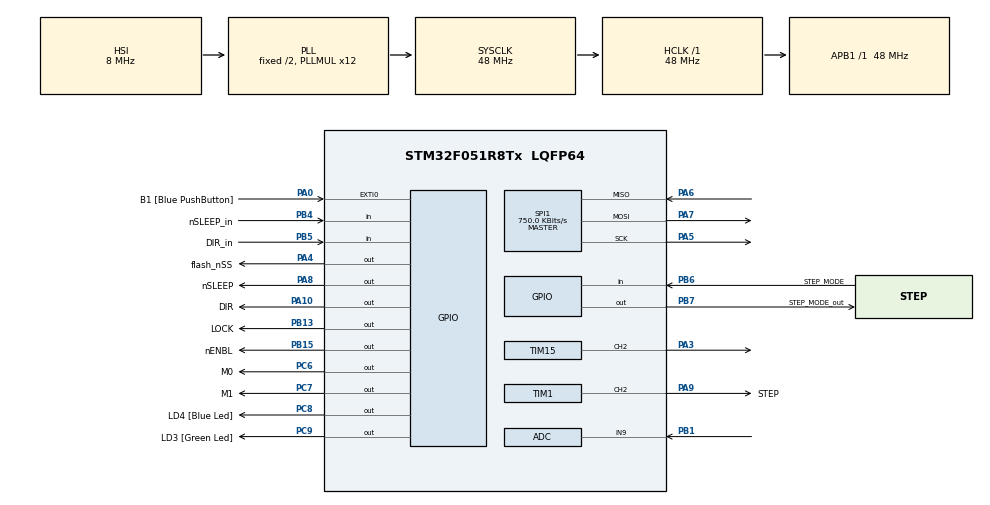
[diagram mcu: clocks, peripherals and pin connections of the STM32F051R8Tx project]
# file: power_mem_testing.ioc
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ADC.EnableAnalogWatchDog=true
ADC.HighThreshold=255
ADC.ITMode=ENABLE
ADC.LowThreshold=202
ADC.Resolution=ADC_RESOLUTION_8B
ADC.WatchdogChannel=ADC_CHANNEL_9
Mcu.Family=STM32F0
Mcu.Name=STM32F051R8Tx
Mcu.Package=LQFP64
NVIC.ADC1_COMP_IRQn=true\:0\:0\:false\:false\:true\:true\:true
NVIC.EXTI0_1_IRQn=true\:0\:0\:false\:false\:true\:true\:true
NVIC.TIM1_CC_IRQn=true\:0\:0\:false\:false\:true\:true\:true
NVIC.TIM2_IRQn=true\:0\:0\:false\:false\:true\:true\:true
PA0.GPIO_Label=B1 [Blue PushButton]
PA0.GPIO_ModeDefaultEXTI=GPIO_MODE_IT_RISING
PA0.Signal=GPXTI0
PA10.GPIO_Label=DIR
PA10.Signal=GPIO_Output
PA13.GPIO_Label=SWDIO
PA13.Mode=Serial_Wire
PA13.Signal=SYS_SWDIO
PA14.GPIO_Label=SWCLK
PA14.Mode=Serial_Wire
PA14.Signal=SYS_SWCLK
PA3.Signal=S_TIM15_CH2
PA4.GPIO_Label=flash_nSS
PA4.GPIO_Speed=GPIO_SPEED_FREQ_HIGH
PA4.PinState=GPIO_PIN_SET
PA4.Signal=GPIO_Output
PA5.Mode=Full_Duplex_Master
PA5.Signal=SPI1_SCK
PA6.Mode=Full_Duplex_Master
PA6.Signal=SPI1_MISO
PA7.Mode=Full_Duplex_Master
PA7.Signal=SPI1_MOSI
PA8.GPIO_Label=nSLEEP
PA8.PinState=GPIO_PIN_SET
PA8.Signal=GPIO_Output
PA9.GPIO_Label=STEP
PA9.Signal=S_TIM1_CH2
PB1.Mode=IN9
PB1.Signal=ADC_IN9
PB13.GPIO_Label=LOCK
PB13.Signal=GPIO_Output
PB15.GPIO_Label=nENBL
PB15.PinState=GPIO_PIN_SET
PB15.Signal=GPIO_Output
PB4.GPIO_Label=nSLEEP_in
PB4.Signal=GPIO_Input
PB5.GPIO_Label=DIR_in
PB5.Signal=GPIO_Input
PB6.GPIO_Label=STEP_MODE
PB6.Signal=GPIO_Input
PB7.GPIO_Label=STEP_MODE_out
PB7.Signal=GPIO_Output
PC6.GPIO_Label=M0
PC6.Signal=GPIO_Output
PC7.GPIO_Label=M1
PC7.Signal=GPIO_Output
PC8.GPIO_Label=LD4 [Blue Led]
PC8.Signal=GPIO_Output
PC9.GPIO_Label=LD3 [Green Led]
PC9.Signal=GPIO_Output
ProjectManager.HeapSize=0x200
ProjectManager.StackSize=0x400
ProjectManager.TargetToolchain=STM32CubeIDE
RCC.AHBFreq_Value=48000000
RCC.APB1Freq_Value=48000000
RCC.APB1TimFreq_Value=48000000
RCC.HCLKFreq_Value=48000000
RCC.PLLMUL=RCC_PLL_MUL12
RCC.SYSCLKFreq_VALUE=48000000
RCC.SYSCLKSource=RCC_SYSCLKSOURCE_PLLCLK
SH.S_TIM15_CH2.0=TIM15_CH2,Output Compare2 CH2
SH.S_TIM1_CH2.0=TIM1_CH2,Output Compare2 CH2
SPI1.BaudRatePrescaler=SPI_BAUDRATEPRESCALER_64
SPI1.CalculateBaudRate=750.0 KBits/s
SPI1.DataSize=SPI_DATASIZE_8BIT
SPI1.Direction=SPI_DIRECTION_2LINES
SPI1.Mode=SPI_MODE_MASTER
SPI1.NSSPMode=SPI_NSS_PULSE_DISABLE
SPI1.VirtualType=VM_MASTER
TIM1.Channel-Output\ Compare2\ CH2=TIM_CHANNEL_2
TIM1.OCMode_2=TIM_OCMODE_TOGGLE
TIM1.Period=1000
TIM1.Prescaler=599
TIM1.Pulse-Output\ Compare2\ CH2=1000
TIM15.Channel-Output\ Compare2\ CH2=TIM_CHANNEL_2
TIM15.OCMode_2=TIM_OCMODE_TOGGLE
TIM15.Period=1000
TIM15.Prescaler=47
TIM15.Pulse-Output\ Compare2\ CH2=1
TIM2.Channel-Output\ Compare1\ No\ Output=TIM_CHANNEL_1
TIM2.CounterMode=TIM_COUNTERMODE_DOWN
TIM2.Period=1000
TIM2.Prescaler=47999
VP_RTC_VS_RTC_Activate.Mode=RTC_Enabled
VP_RTC_VS_RTC_Calendar.Mode=RTC_Calendar
VP_TIM15_VS_ClockSourceINT.Mode=Internal
VP_TIM1_VS_ClockSourceINT.Mode=Internal
VP_TIM2_VS_ClockSourceINT.Mode=Internal
VP_TIM2_VS_no_output1.Mode=Output Compare1 No Output
board=STM32F0DISCOVERY

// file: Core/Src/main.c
/* USER CODE BEGIN Header */
/**
  ******************************************************************************
  * @file           : main.c
  * @brief          : Main program body
  ******************************************************************************
  * @attention
  *
  * <h2><center>&copy; Copyright (c) 2020 STMicroelectronics.
  * All rights reserved.</center></h2>
  *
  * This software component is licensed by ST under BSD 3-Clause license,
  * the "License"; You may not use this file except in compliance with the
  * License. You may obtain a copy of the License at:
  *                        opensource.org/licenses/BSD-3-Clause
  *
  ******************************************************************************
  */
/* USER CODE END Header */

#include "main.h"

/* USER CODE BEGIN Includes */
#include "motor.h"
#include "flash.h"
/* USER CODE END Includes */

ADC_HandleTypeDef hadc;

RTC_HandleTypeDef hrtc;

SPI_HandleTypeDef hspi1;

TIM_HandleTypeDef htim1;
TIM_HandleTypeDef htim2;
TIM_HandleTypeDef htim15;

/* USER CODE BEGIN PV */
uint8_t tim_state = 0;
uint16_t motor_count = 0;
extern uint16_t set_motor_steps;

uint8_t dosageTimer = 10;

uint8_t dataTx[6] = {0x03, 0x00, 0x00, 0x00, 0x00, 0x00};
uint8_t dataRx[6];
uint8_t dataTx2[4] = {0x55, 0x55, 0x55, 0x55};
uint8_t dataRx2[4];
uint8_t dataTx3[16] = {1, 2, 3, 4, 5, 6, 7, 8, 9, 10, 11, 12, 13, 14, 15, 16};
uint8_t dataRx3[16];

uint8_t speakerOn = 0;
uint8_t speakerTimer = 0;

/* USER CODE END PV */

void SystemClock_Config(void);
static void MX_GPIO_Init(void);
static void MX_TIM1_Init(void);
static void MX_SPI1_Init(void);
static void MX_ADC_Init(void);
static void MX_RTC_Init(void);
static void MX_TIM2_Init(void);
static void MX_TIM15_Init(void);

/* USER CODE BEGIN 0 */

void HAL_TIM_OC_DelayElapsedCallback(TIM_HandleTypeDef *htim)
{
	// timer for motor stepping
	if (htim == &htim1)
	{
		// act only on rising edge of step
		if (tim_state == 0)
		{
			motor_count++;
			tim_state = 1;
			//HAL_GPIO_WritePin(LD4_GPIO_Port, LD4_Pin, GPIO_PIN_SET);
		}
		else
		{
			tim_state = 0;
			//HAL_GPIO_WritePin(LD4_GPIO_Port, LD4_Pin, GPIO_PIN_RESET);

			// check for end of movement
			if (motor_count >= set_motor_steps)
			{
				// stop timer
				(htim->Instance)->CR1 &= (!0x0001);

				// reset control variables
				(htim->Instance)->CNT = 0;
				motor_count = 0;
			}
		}
	}

	// timer for dosage/ADC checking
	else
	{
		HAL_GPIO_TogglePin(LD4_GPIO_Port, LD4_Pin);

		// count down dosage timer
		if (dosageTimer > 0)
		{
			dosageTimer--;
			if (dosageTimer == 0)
			{
				speakerOn = 1;
				TIM15->CR1 |= 0x0001;
			}
		}
		else
		{
			if (speakerOn == 1)
			{
				speakerOn = 0;
				TIM15->CR1 &= (!0x0001);
			}

		}

		// ADC check
		HAL_ADC_Start(&hadc);
		HAL_ADC_PollForConversion(&hadc, 10000);
		uint32_t value = HAL_ADC_GetValue(&hadc);
		HAL_ADC_Stop(&hadc);

		// unlock if ADC input is too low
		if (value <= 154)
		{
			HAL_GPIO_WritePin(LOCK_GPIO_Port, LOCK_Pin, GPIO_PIN_SET);
		}
		else
		{
			HAL_GPIO_WritePin(LOCK_GPIO_Port, LOCK_Pin, GPIO_PIN_RESET);
		}
	}
}

// discovery board push button
void HAL_GPIO_EXTI_Callback(uint16_t GPIO_Pin)
{
	// blue push button
	if (GPIO_Pin == B1_Pin)
	{
		HAL_GPIO_TogglePin(LD3_GPIO_Port, LD3_Pin);

		uint8_t mode = (uint8_t)HAL_GPIO_ReadPin(STEP_MODE_GPIO_Port, STEP_MODE_Pin);
		uint8_t dir = (uint8_t)(HAL_GPIO_ReadPin(DIR_in_GPIO_Port, DIR_in_Pin));
		if (dosageTimer == 0)
		{
			if (mode == 0)
			{
				Move_Eighth(dir);
			}
			else
			{
				Move(dir, 200);
			}

			dosageTimer = 10;
		}

		/*
		ReadFlash(0x00, dataRx2, 4);
		WriteFlash(0x00, dataTx2, 4);
		ReadFlash(0x00, dataRx2, 4);
		*/

		/*
		uint8_t masterID[8] = {1, 2, 3, 4, 5, 6, 7, 8};
		uint8_t patientID[8] = {9, 9, 9, 9, 9, 9, 9, 9};
		uint8_t dosagePeriod[4] = {2, 4, 2, 4};

		uint8_t masterID_r[8] = {0};
		uint8_t patientID_r[8] = {0};
		uint8_t dosagePeriod_r[4] = {0};

		ReadSettings(masterID_r, patientID_r, dosagePeriod_r);
		WriteSettings(masterID, patientID, dosagePeriod);
		ReadSettings(masterID_r, patientID_r, dosagePeriod_r);

		uint8_t a = 2;
		*/

	}
}

void HAL_ADC_LevelOutOfWindowCallback(ADC_HandleTypeDef* hadc)
{
	//HAL_GPIO_WritePin(LOCK_GPIO_Port, LOCK_Pin, GPIO_PIN_SET);
}

/* USER CODE END 0 */

int main(void)
{

  /* MCU Configuration--------------------------------------------------------*/

  /* Reset of all peripherals, Initializes the Flash interface and the Systick. */
  HAL_Init();

  /* Configure the system clock */
  SystemClock_Config();

  /* Initialize all configured peripherals */
  MX_GPIO_Init();
  MX_TIM1_Init();
  MX_SPI1_Init();
  MX_ADC_Init();
  MX_RTC_Init();
  MX_TIM2_Init();
  MX_TIM15_Init();
  /* USER CODE BEGIN 2 */

  HAL_TIM_OC_Start_IT(&htim1, TIM_CHANNEL_2);
  TIM1->CR1 &= (!0x0001);
  TIM1->CNT = 0;

  HAL_TIM_OC_Start_IT(&htim2, TIM_CHANNEL_1);
  HAL_TIM_OC_Start(&htim15, TIM_CHANNEL_2);
  TIM15->CR1 &= (!0x0001);

  // configure motor controller GPIO outputs
  HAL_GPIO_WritePin(nENBL_GPIO_Port, nENBL_Pin, GPIO_PIN_RESET);
  HAL_GPIO_WritePin(DIR_GPIO_Port, DIR_Pin, GPIO_PIN_RESET);
  // M0, M1, and nSLEEP set to 0, 0, 1 by default

  /* USER CODE END 2 */

  /* Infinite loop */
  while (1)
  {

    /* USER CODE BEGIN 3 */
	  //HAL_GPIO_WritePin(DIR_GPIO_Port, DIR_Pin, HAL_GPIO_ReadPin(DIR_in_GPIO_Port, DIR_in_Pin));
	  HAL_GPIO_WritePin(nSLEEP_GPIO_Port, nSLEEP_Pin, HAL_GPIO_ReadPin(nSLEEP_in_GPIO_Port, nSLEEP_in_Pin));
	  HAL_GPIO_WritePin(STEP_MODE_out_GPIO_Port, STEP_MODE_out_Pin, HAL_GPIO_ReadPin(STEP_MODE_GPIO_Port, STEP_MODE_Pin));
  }
  /* USER CODE END 3 */
}

void SystemClock_Config(void)
{
  RCC_OscInitTypeDef RCC_OscInitStruct = {0};
  RCC_ClkInitTypeDef RCC_ClkInitStruct = {0};
  RCC_PeriphCLKInitTypeDef PeriphClkInit = {0};

  /** Initializes the CPU, AHB and APB busses clocks
  */
  RCC_OscInitStruct.OscillatorType = RCC_OSCILLATORTYPE_HSI|RCC_OSCILLATORTYPE_HSI14
                              |RCC_OSCILLATORTYPE_LSI;
  RCC_OscInitStruct.HSIState = RCC_HSI_ON;
  RCC_OscInitStruct.HSI14State = RCC_HSI14_ON;
  RCC_OscInitStruct.HSICalibrationValue = RCC_HSICALIBRATION_DEFAULT;
  RCC_OscInitStruct.HSI14CalibrationValue = 16;
  RCC_OscInitStruct.LSIState = RCC_LSI_ON;
  RCC_OscInitStruct.PLL.PLLState = RCC_PLL_ON;
  RCC_OscInitStruct.PLL.PLLSource = RCC_PLLSOURCE_HSI;
  RCC_OscInitStruct.PLL.PLLMUL = RCC_PLL_MUL12;
  RCC_OscInitStruct.PLL.PREDIV = RCC_PREDIV_DIV1;
  if (HAL_RCC_OscConfig(&RCC_OscInitStruct) != HAL_OK)
  {
    Error_Handler();
  }
  /** Initializes the CPU, AHB and APB busses clocks
  */
  RCC_ClkInitStruct.ClockType = RCC_CLOCKTYPE_HCLK|RCC_CLOCKTYPE_SYSCLK
                              |RCC_CLOCKTYPE_PCLK1;
  RCC_ClkInitStruct.SYSCLKSource = RCC_SYSCLKSOURCE_PLLCLK;
  RCC_ClkInitStruct.AHBCLKDivider = RCC_SYSCLK_DIV1;
  RCC_ClkInitStruct.APB1CLKDivider = RCC_HCLK_DIV1;

  if (HAL_RCC_ClockConfig(&RCC_ClkInitStruct, FLASH_LATENCY_1) != HAL_OK)
  {
    Error_Handler();
  }
  PeriphClkInit.PeriphClockSelection = RCC_PERIPHCLK_RTC;
  PeriphClkInit.RTCClockSelection = RCC_RTCCLKSOURCE_LSI;
  if (HAL_RCCEx_PeriphCLKConfig(&PeriphClkInit) != HAL_OK)
  {
    Error_Handler();
  }
}

static void MX_ADC_Init(void)
{

  ADC_ChannelConfTypeDef sConfig = {0};
  ADC_AnalogWDGConfTypeDef AnalogWDGConfig = {0};

  /** Configure the global features of the ADC (Clock, Resolution, Data Alignment and number of conversion)
  */
  hadc.Instance = ADC1;
  hadc.Init.ClockPrescaler = ADC_CLOCK_ASYNC_DIV1;
  hadc.Init.Resolution = ADC_RESOLUTION_8B;
  hadc.Init.DataAlign = ADC_DATAALIGN_RIGHT;
  hadc.Init.ScanConvMode = ADC_SCAN_DIRECTION_FORWARD;
  hadc.Init.EOCSelection = ADC_EOC_SINGLE_CONV;
  hadc.Init.LowPowerAutoWait = DISABLE;
  hadc.Init.LowPowerAutoPowerOff = DISABLE;
  hadc.Init.ContinuousConvMode = DISABLE;
  hadc.Init.DiscontinuousConvMode = DISABLE;
  hadc.Init.ExternalTrigConv = ADC_SOFTWARE_START;
  hadc.Init.ExternalTrigConvEdge = ADC_EXTERNALTRIGCONVEDGE_NONE;
  hadc.Init.DMAContinuousRequests = DISABLE;
  hadc.Init.Overrun = ADC_OVR_DATA_PRESERVED;
  if (HAL_ADC_Init(&hadc) != HAL_OK)
  {
    Error_Handler();
  }
  /** Configure for the selected ADC regular channel to be converted.
  */
  sConfig.Channel = ADC_CHANNEL_9;
  sConfig.Rank = ADC_RANK_CHANNEL_NUMBER;
  sConfig.SamplingTime = ADC_SAMPLETIME_1CYCLE_5;
  if (HAL_ADC_ConfigChannel(&hadc, &sConfig) != HAL_OK)
  {
    Error_Handler();
  }
  /** Configure the analog watchdog
  */
  AnalogWDGConfig.WatchdogMode = ADC_ANALOGWATCHDOG_SINGLE_REG;
  AnalogWDGConfig.Channel = ADC_CHANNEL_9;
  AnalogWDGConfig.ITMode = ENABLE;
  AnalogWDGConfig.HighThreshold = 255;
  AnalogWDGConfig.LowThreshold = 202;
  if (HAL_ADC_AnalogWDGConfig(&hadc, &AnalogWDGConfig) != HAL_OK)
  {
    Error_Handler();
  }

}

static void MX_RTC_Init(void)
{

  RTC_TimeTypeDef sTime = {0};
  RTC_DateTypeDef sDate = {0};

  /** Initialize RTC Only
  */
  hrtc.Instance = RTC;
  hrtc.Init.HourFormat = RTC_HOURFORMAT_24;
  hrtc.Init.AsynchPrediv = 127;
  hrtc.Init.SynchPrediv = 255;
  hrtc.Init.OutPut = RTC_OUTPUT_DISABLE;
  hrtc.Init.OutPutPolarity = RTC_OUTPUT_POLARITY_HIGH;
  hrtc.Init.OutPutType = RTC_OUTPUT_TYPE_OPENDRAIN;
  if (HAL_RTC_Init(&hrtc) != HAL_OK)
  {
    Error_Handler();
  }

  /** Initialize RTC and set the Time and Date
  */
  sTime.Hours = 0x0;
  sTime.Minutes = 0x0;
  sTime.Seconds = 0x0;
  sTime.DayLightSaving = RTC_DAYLIGHTSAVING_NONE;
  sTime.StoreOperation = RTC_STOREOPERATION_RESET;
  if (HAL_RTC_SetTime(&hrtc, &sTime, RTC_FORMAT_BCD) != HAL_OK)
  {
    Error_Handler();
  }
  sDate.WeekDay = RTC_WEEKDAY_MONDAY;
  sDate.Month = RTC_MONTH_JANUARY;
  sDate.Date = 0x1;
  sDate.Year = 0x0;

  if (HAL_RTC_SetDate(&hrtc, &sDate, RTC_FORMAT_BCD) != HAL_OK)
  {
    Error_Handler();
  }

}

static void MX_SPI1_Init(void)
{

  /* SPI1 parameter configuration*/
  hspi1.Instance = SPI1;
  hspi1.Init.Mode = SPI_MODE_MASTER;
  hspi1.Init.Direction = SPI_DIRECTION_2LINES;
  hspi1.Init.DataSize = SPI_DATASIZE_8BIT;
  hspi1.Init.CLKPolarity = SPI_POLARITY_LOW;
  hspi1.Init.CLKPhase = SPI_PHASE_1EDGE;
  hspi1.Init.NSS = SPI_NSS_SOFT;
  hspi1.Init.BaudRatePrescaler = SPI_BAUDRATEPRESCALER_64;
  hspi1.Init.FirstBit = SPI_FIRSTBIT_MSB;
  hspi1.Init.TIMode = SPI_TIMODE_DISABLE;
  hspi1.Init.CRCCalculation = SPI_CRCCALCULATION_DISABLE;
  hspi1.Init.CRCPolynomial = 7;
  hspi1.Init.CRCLength = SPI_CRC_LENGTH_DATASIZE;
  hspi1.Init.NSSPMode = SPI_NSS_PULSE_DISABLE;
  if (HAL_SPI_Init(&hspi1) != HAL_OK)
  {
    Error_Handler();
  }

}

static void MX_TIM1_Init(void)
{

  TIM_ClockConfigTypeDef sClockSourceConfig = {0};
  TIM_MasterConfigTypeDef sMasterConfig = {0};
  TIM_OC_InitTypeDef sConfigOC = {0};
  TIM_BreakDeadTimeConfigTypeDef sBreakDeadTimeConfig = {0};

  htim1.Instance = TIM1;
  htim1.Init.Prescaler = 599;
  htim1.Init.CounterMode = TIM_COUNTERMODE_UP;
  htim1.Init.Period = 1000;
  htim1.Init.ClockDivision = TIM_CLOCKDIVISION_DIV1;
  htim1.Init.RepetitionCounter = 0;
  htim1.Init.AutoReloadPreload = TIM_AUTORELOAD_PRELOAD_DISABLE;
  if (HAL_TIM_Base_Init(&htim1) != HAL_OK)
  {
    Error_Handler();
  }
  sClockSourceConfig.ClockSource = TIM_CLOCKSOURCE_INTERNAL;
  if (HAL_TIM_ConfigClockSource(&htim1, &sClockSourceConfig) != HAL_OK)
  {
    Error_Handler();
  }
  if (HAL_TIM_OC_Init(&htim1) != HAL_OK)
  {
    Error_Handler();
  }
  sMasterConfig.MasterOutputTrigger = TIM_TRGO_RESET;
  sMasterConfig.MasterSlaveMode = TIM_MASTERSLAVEMODE_DISABLE;
  if (HAL_TIMEx_MasterConfigSynchronization(&htim1, &sMasterConfig) != HAL_OK)
  {
    Error_Handler();
  }
  sConfigOC.OCMode = TIM_OCMODE_TOGGLE;
  sConfigOC.Pulse = 1000;
  sConfigOC.OCPolarity = TIM_OCPOLARITY_HIGH;
  sConfigOC.OCNPolarity = TIM_OCNPOLARITY_HIGH;
  sConfigOC.OCFastMode = TIM_OCFAST_DISABLE;
  sConfigOC.OCIdleState = TIM_OCIDLESTATE_RESET;
  sConfigOC.OCNIdleState = TIM_OCNIDLESTATE_RESET;
  if (HAL_TIM_OC_ConfigChannel(&htim1, &sConfigOC, TIM_CHANNEL_2) != HAL_OK)
  {
    Error_Handler();
  }
  sBreakDeadTimeConfig.OffStateRunMode = TIM_OSSR_DISABLE;
  sBreakDeadTimeConfig.OffStateIDLEMode = TIM_OSSI_DISABLE;
  sBreakDeadTimeConfig.LockLevel = TIM_LOCKLEVEL_OFF;
  sBreakDeadTimeConfig.DeadTime = 0;
  sBreakDeadTimeConfig.BreakState = TIM_BREAK_DISABLE;
  sBreakDeadTimeConfig.BreakPolarity = TIM_BREAKPOLARITY_HIGH;
  sBreakDeadTimeConfig.AutomaticOutput = TIM_AUTOMATICOUTPUT_DISABLE;
  if (HAL_TIMEx_ConfigBreakDeadTime(&htim1, &sBreakDeadTimeConfig) != HAL_OK)
  {
    Error_Handler();
  }
  HAL_TIM_MspPostInit(&htim1);

}

static void MX_TIM2_Init(void)
{

  TIM_ClockConfigTypeDef sClockSourceConfig = {0};
  TIM_MasterConfigTypeDef sMasterConfig = {0};
  TIM_OC_InitTypeDef sConfigOC = {0};

  htim2.Instance = TIM2;
  htim2.Init.Prescaler = 47999;
  htim2.Init.CounterMode = TIM_COUNTERMODE_DOWN;
  htim2.Init.Period = 1000;
  htim2.Init.ClockDivision = TIM_CLOCKDIVISION_DIV1;
  htim2.Init.AutoReloadPreload = TIM_AUTORELOAD_PRELOAD_DISABLE;
  if (HAL_TIM_Base_Init(&htim2) != HAL_OK)
  {
    Error_Handler();
  }
  sClockSourceConfig.ClockSource = TIM_CLOCKSOURCE_INTERNAL;
  if (HAL_TIM_ConfigClockSource(&htim2, &sClockSourceConfig) != HAL_OK)
  {
    Error_Handler();
  }
  if (HAL_TIM_OC_Init(&htim2) != HAL_OK)
  {
    Error_Handler();
  }
  sMasterConfig.MasterOutputTrigger = TIM_TRGO_RESET;
  sMasterConfig.MasterSlaveMode = TIM_MASTERSLAVEMODE_DISABLE;
  if (HAL_TIMEx_MasterConfigSynchronization(&htim2, &sMasterConfig) != HAL_OK)
  {
    Error_Handler();
  }
  sConfigOC.OCMode = TIM_OCMODE_TIMING;
  sConfigOC.Pulse = 0;
  sConfigOC.OCPolarity = TIM_OCPOLARITY_HIGH;
  sConfigOC.OCFastMode = TIM_OCFAST_DISABLE;
  if (HAL_TIM_OC_ConfigChannel(&htim2, &sConfigOC, TIM_CHANNEL_1) != HAL_OK)
  {
    Error_Handler();
  }

}

static void MX_TIM15_Init(void)
{

  TIM_ClockConfigTypeDef sClockSourceConfig = {0};
  TIM_MasterConfigTypeDef sMasterConfig = {0};
  TIM_OC_InitTypeDef sConfigOC = {0};
  TIM_BreakDeadTimeConfigTypeDef sBreakDeadTimeConfig = {0};

  htim15.Instance = TIM15;
  htim15.Init.Prescaler = 47;
  htim15.Init.CounterMode = TIM_COUNTERMODE_UP;
  htim15.Init.Period = 1000;
  htim15.Init.ClockDivision = TIM_CLOCKDIVISION_DIV1;
  htim15.Init.RepetitionCounter = 0;
  htim15.Init.AutoReloadPreload = TIM_AUTORELOAD_PRELOAD_DISABLE;
  if (HAL_TIM_Base_Init(&htim15) != HAL_OK)
  {
    Error_Handler();
  }
  sClockSourceConfig.ClockSource = TIM_CLOCKSOURCE_INTERNAL;
  if (HAL_TIM_ConfigClockSource(&htim15, &sClockSourceConfig) != HAL_OK)
  {
    Error_Handler();
  }
  if (HAL_TIM_OC_Init(&htim15) != HAL_OK)
  {
    Error_Handler();
  }
  sMasterConfig.MasterOutputTrigger = TIM_TRGO_RESET;
  sMasterConfig.MasterSlaveMode = TIM_MASTERSLAVEMODE_DISABLE;
  if (HAL_TIMEx_MasterConfigSynchronization(&htim15, &sMasterConfig) != HAL_OK)
  {
    Error_Handler();
  }
  sConfigOC.OCMode = TIM_OCMODE_TOGGLE;
  sConfigOC.Pulse = 1;
  sConfigOC.OCPolarity = TIM_OCPOLARITY_HIGH;
  sConfigOC.OCNPolarity = TIM_OCNPOLARITY_HIGH;
  sConfigOC.OCFastMode = TIM_OCFAST_DISABLE;
  sConfigOC.OCIdleState = TIM_OCIDLESTATE_RESET;
  sConfigOC.OCNIdleState = TIM_OCNIDLESTATE_RESET;
  if (HAL_TIM_OC_ConfigChannel(&htim15, &sConfigOC, TIM_CHANNEL_2) != HAL_OK)
  {
    Error_Handler();
  }
  sBreakDeadTimeConfig.OffStateRunMode = TIM_OSSR_DISABLE;
  sBreakDeadTimeConfig.OffStateIDLEMode = TIM_OSSI_DISABLE;
  sBreakDeadTimeConfig.LockLevel = TIM_LOCKLEVEL_OFF;
  sBreakDeadTimeConfig.DeadTime = 0;
  sBreakDeadTimeConfig.BreakState = TIM_BREAK_DISABLE;
  sBreakDeadTimeConfig.BreakPolarity = TIM_BREAKPOLARITY_HIGH;
  sBreakDeadTimeConfig.AutomaticOutput = TIM_AUTOMATICOUTPUT_DISABLE;
  if (HAL_TIMEx_ConfigBreakDeadTime(&htim15, &sBreakDeadTimeConfig) != HAL_OK)
  {
    Error_Handler();
  }
  HAL_TIM_MspPostInit(&htim15);

}

static void MX_GPIO_Init(void)
{
  GPIO_InitTypeDef GPIO_InitStruct = {0};

  /* GPIO Ports Clock Enable */
  __HAL_RCC_GPIOA_CLK_ENABLE();
  __HAL_RCC_GPIOB_CLK_ENABLE();
  __HAL_RCC_GPIOC_CLK_ENABLE();

  /*Configure GPIO pin Output Level */
  HAL_GPIO_WritePin(GPIOA, flash_nSS_Pin|nSLEEP_Pin, GPIO_PIN_SET);

  /*Configure GPIO pin Output Level */
  HAL_GPIO_WritePin(GPIOB, LOCK_Pin|STEP_MODE_out_Pin, GPIO_PIN_RESET);

  /*Configure GPIO pin Output Level */
  HAL_GPIO_WritePin(nENBL_GPIO_Port, nENBL_Pin, GPIO_PIN_SET);

  /*Configure GPIO pin Output Level */
  HAL_GPIO_WritePin(GPIOC, M0_Pin|M1_Pin|LD4_Pin|LD3_Pin, GPIO_PIN_RESET);

  /*Configure GPIO pin Output Level */
  HAL_GPIO_WritePin(DIR_GPIO_Port, DIR_Pin, GPIO_PIN_RESET);

  /*Configure GPIO pin : B1_Pin */
  GPIO_InitStruct.Pin = B1_Pin;
  GPIO_InitStruct.Mode = GPIO_MODE_IT_RISING;
  GPIO_InitStruct.Pull = GPIO_NOPULL;
  HAL_GPIO_Init(B1_GPIO_Port, &GPIO_InitStruct);

  /*Configure GPIO pin : flash_nSS_Pin */
  GPIO_InitStruct.Pin = flash_nSS_Pin;
  GPIO_InitStruct.Mode = GPIO_MODE_OUTPUT_PP;
  GPIO_InitStruct.Pull = GPIO_NOPULL;
  GPIO_InitStruct.Speed = GPIO_SPEED_FREQ_HIGH;
  HAL_GPIO_Init(flash_nSS_GPIO_Port, &GPIO_InitStruct);

  /*Configure GPIO pins : LOCK_Pin nENBL_Pin STEP_MODE_out_Pin */
  GPIO_InitStruct.Pin = LOCK_Pin|nENBL_Pin|STEP_MODE_out_Pin;
  GPIO_InitStruct.Mode = GPIO_MODE_OUTPUT_PP;
  GPIO_InitStruct.Pull = GPIO_NOPULL;
  GPIO_InitStruct.Speed = GPIO_SPEED_FREQ_LOW;
  HAL_GPIO_Init(GPIOB, &GPIO_InitStruct);

  /*Configure GPIO pins : M0_Pin M1_Pin LD4_Pin LD3_Pin */
  GPIO_InitStruct.Pin = M0_Pin|M1_Pin|LD4_Pin|LD3_Pin;
  GPIO_InitStruct.Mode = GPIO_MODE_OUTPUT_PP;
  GPIO_InitStruct.Pull = GPIO_NOPULL;
  GPIO_InitStruct.Speed = GPIO_SPEED_FREQ_LOW;
  HAL_GPIO_Init(GPIOC, &GPIO_InitStruct);

  /*Configure GPIO pins : nSLEEP_Pin DIR_Pin */
  GPIO_InitStruct.Pin = nSLEEP_Pin|DIR_Pin;
  GPIO_InitStruct.Mode = GPIO_MODE_OUTPUT_PP;
  GPIO_InitStruct.Pull = GPIO_NOPULL;
  GPIO_InitStruct.Speed = GPIO_SPEED_FREQ_LOW;
  HAL_GPIO_Init(GPIOA, &GPIO_InitStruct);

  /*Configure GPIO pins : nSLEEP_in_Pin DIR_in_Pin STEP_MODE_Pin */
  GPIO_InitStruct.Pin = nSLEEP_in_Pin|DIR_in_Pin|STEP_MODE_Pin;
  GPIO_InitStruct.Mode = GPIO_MODE_INPUT;
  GPIO_InitStruct.Pull = GPIO_NOPULL;
  HAL_GPIO_Init(GPIOB, &GPIO_InitStruct);

  /* EXTI interrupt init*/
  HAL_NVIC_SetPriority(EXTI0_1_IRQn, 0, 0);
  HAL_NVIC_EnableIRQ(EXTI0_1_IRQn);

}

void Error_Handler(void)
{
}

/************************ (C) COPYRIGHT STMicroelectronics *****END OF FILE****/
